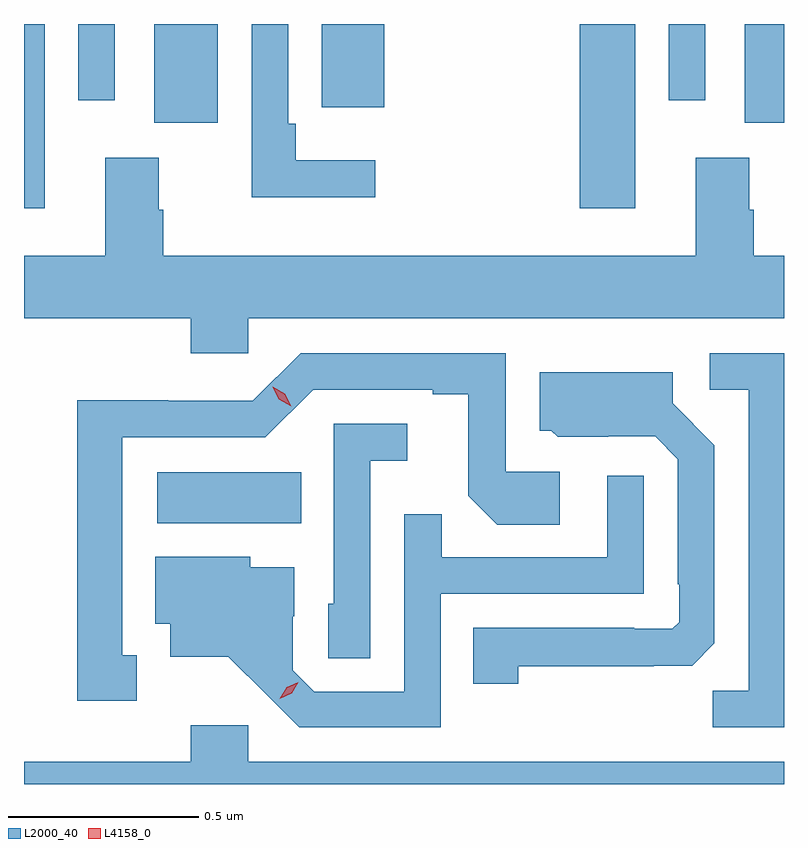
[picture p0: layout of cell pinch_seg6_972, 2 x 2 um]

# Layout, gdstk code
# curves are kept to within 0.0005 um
import gdstk
lib = gdstk.Library(unit=1e-6, precision=1e-09)
def R(c, l, rs):  # rectangles x0, y0, x1, y1
    for r in rs: c.add(gdstk.rectangle(r[:2], r[2:], *l))
def P(c, l, *ps):  # polygons
    for p in ps: c.add(gdstk.Polygon(p, *l))
L2000_40 = (2000, 40)
L4158_0 = (4158, 0)

pinch_seg6_972 = lib.new_cell('pinch_seg6_972')
R(pinch_seg6_972, L2000_40, [(339.174,941.468,339.554,941.602), (338.824,942.297,338.878,942.782), (340.286,942.297,340.432,942.782), (339.167,942.522,339.334,942.782), (340.721,942.522,340.824,942.782), (339.608,942.563,339.772,942.782), (338.967,942.582,339.063,942.782), (340.521,942.582,340.617,942.782)])
P(pinch_seg6_972, L2000_40, [(339.748,942.424),(339.539,942.424),(339.539,942.52),(339.519,942.52),(339.519,942.782),(339.423,942.782),(339.423,942.326),(339.748,942.326)],
  [(339.414,942.008),(340.824,942.008),(340.824,942.172),(340.745,942.172),(340.745,942.293),(340.732,942.293),(340.732,942.43),(340.592,942.43),(340.592,942.172),(339.191,942.172),(339.191,942.293),(339.178,942.293),(339.178,942.43),(339.038,942.43),(339.038,942.172),(338.824,942.172),(338.824,942.008),(339.263,942.008),(339.263,941.915),(339.414,941.915)],
  [(340.824,941.916),(340.629,941.916),(340.629,941.82),(340.731,941.82),(340.731,941.027),(340.636,941.027),(340.636,940.932),(340.824,940.932)],
  [(339.121,941.121),(339.082,941.121),(339.082,941.694),(339.459,941.694),(339.585,941.82),(339.899,941.82),(339.899,941.808),(339.993,941.808),(339.993,941.54),(340.069,941.464),(340.234,941.464),(340.234,941.604),(340.092,941.604),(340.092,941.916),(339.552,941.916),(339.426,941.79),(339.204,941.79),(339.204,941.792),(338.964,941.792),(338.964,941.001),(339.121,941.001)],
  [(340.125,941.092),(340.481,941.092),(340.481,941.093),(340.582,941.093),(340.641,941.152),(340.641,941.674),(340.531,941.784),(340.531,941.866),(340.181,941.866),(340.181,941.712),(340.212,941.712),(340.228,941.696),(340.362,941.696),(340.362,941.697),(340.485,941.697),(340.545,941.637),(340.545,941.308),(340.548,941.308),(340.548,941.208),(340.53,941.19),(340.43,941.19),(340.43,941.193),(340.006,941.193),(340.006,941.046),(340.125,941.046)],
  [(339.735,941.633),(339.832,941.633),(339.832,941.73),(339.639,941.73),(339.639,941.256),(339.624,941.256),(339.624,941.113),(339.735,941.113)],
  [(339.921,941.283),(340.455,941.283),(340.455,941.593),(340.359,941.593),(340.359,941.379),(339.923,941.379),(339.923,941.492),(339.825,941.492),(339.825,941.025),(339.588,941.025),(339.531,941.082),(339.531,941.224),(339.535,941.224),(339.535,941.353),(339.42,941.353),(339.42,941.38),(339.17,941.38),(339.17,941.204),(339.209,941.204),(339.209,941.117),(339.361,941.117),(339.548,940.932),(339.921,940.932)],
  [(340.824,940.84),(339.414,940.84),(339.414,940.936),(339.263,940.936),(339.263,940.84),(338.824,940.84),(338.824,940.782),(340.824,940.782)])
P(pinch_seg6_972, L4158_0, [(339.497,941.006),(339.497,941.007),(339.515,941.036),(339.546,941.05),(339.546,941.05),(339.546,941.05),(339.528,941.021),(339.497,941.006)],
  [(339.527,941.776),(339.495,941.795),(339.478,941.827),(339.478,941.828),(339.478,941.828),(339.51,941.809),(339.527,941.776),(339.527,941.776)])

lib.write_gds('pinch_seg6_972.gds')
